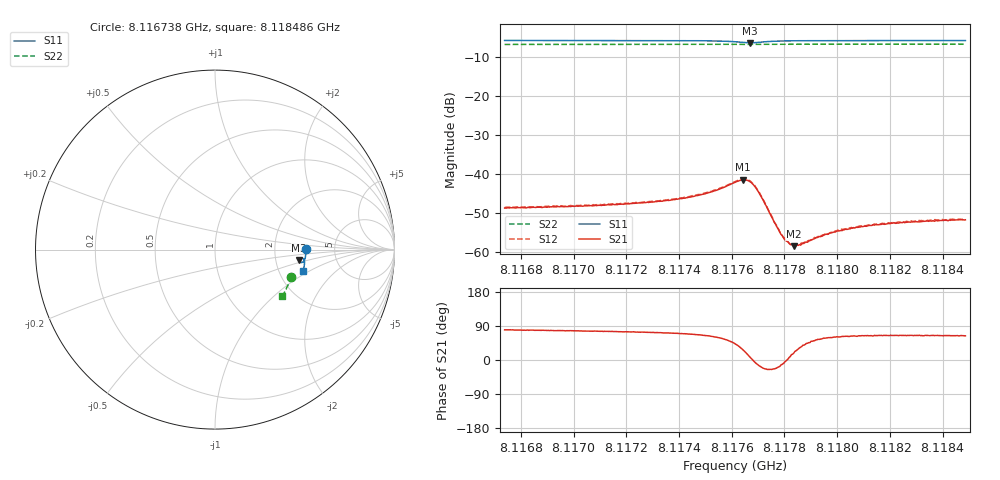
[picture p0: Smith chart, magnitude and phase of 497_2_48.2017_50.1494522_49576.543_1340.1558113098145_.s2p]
#  HZ  S  RI  R  50.00
! Rohde & Schwarz Vector Network Analyzer
! Rohde-Schwarz,ZNB20-2Port,1311601062101988,3.16
! Created: UTC 3/20/2024, 11:58:18 AM
! freq[Hz]  re:S11  im:S11  re:S21  im:S21  re:S12  im:S12  re:S22  im:S22
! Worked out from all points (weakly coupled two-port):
!   401 points, 8.116738 GHz to 8.118486 GHz, reference 50 ohm
!   highest |S21| = -41.48 dB at 8.117643 GHz (marker M1); lowest = -58.4 dB at 8.117835 GHz (marker M2)
!   lowest |S11| = -6.5 dB at 8.117669 GHz (marker M3), VSWR 2.79, Z = 136 - j20.4 ohm
!   |S11| at or under -10 dB: nowhere
!   |S22| runs from -6.9 to -6.8 dB; largest |S21 - S12| = 0.00023
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8.1167384e9  0.5068 0.00393  0.000661 0.00361  0.000728 0.00367  0.4245 -0.1511
8.1170312e9  0.5059 -0.0188  0.0009 0.0038  0.000963 0.00385  0.418 -0.1703
8.1172103e9  0.5047 -0.0331  0.00113 0.00399  0.00118 0.00407  0.4137 -0.1821
8.117324e9  0.5033 -0.0428  0.00138 0.00426  0.00144 0.0043  0.4106 -0.1896
8.1174157e9  0.5015 -0.0515  0.00175 0.00459  0.00179 0.00465  0.4081 -0.1955
8.1174856e9  0.4991 -0.0588  0.00223 0.00499  0.00232 0.00505  0.406 -0.1999
8.1175468e9  0.4947 -0.066  0.00321 0.00542  0.00331 0.00554  0.404 -0.2041
8.1176124e9  0.4824 -0.0722  0.00572 0.00534  0.00586 0.00539  0.4015 -0.2079
8.117643e9  0.4729 -0.0686  0.00753 0.00378  0.00769 0.0038  0.4003 -0.2095
8.1176692e9  0.469 -0.0582  0.00792 0.00107  0.00811 0.00101  0.3996 -0.2107
8.1176867e9  0.472 -0.0512  0.00697 -0.000623  0.00713 -0.000715  0.3992 -0.2115
8.1177041e9  0.478 -0.0472  0.0055 -0.0015  0.00562 -0.00159  0.3992 -0.2123
8.1177653e9  0.4934 -0.0523  0.00214 -0.000886  0.00213 -0.00093  0.398 -0.2164
8.1177915e9  0.496 -0.0565  0.0016 -0.000325  0.0016 -0.000322  0.3972 -0.2181
8.1178134e9  0.4973 -0.0596  0.00135 5.92e-05  0.00137 5.63e-05  0.3966 -0.2196
8.1178352e9  0.498 -0.0626  0.00114 0.000373  0.00119 0.000403  0.3958 -0.221
8.1178658e9  0.4985 -0.0664  0.00104 0.000748  0.00108 0.000758  0.3949 -0.223
8.1179052e9  0.4988 -0.0708  0.000944 0.0011  0.000943 0.00111  0.3935 -0.2256
8.1180101e9  0.4982 -0.081  0.000922 0.00165  0.000936 0.00173  0.3902 -0.2321
8.1180625e9  0.4976 -0.0854  0.000916 0.00185  0.00094 0.00184  0.3885 -0.2354
8.118198e9  0.4959 -0.0968  0.001 0.0021  0.00101 0.00214  0.3838 -0.2439
8.1184864e9  0.491 -0.1188  0.00115 0.00233  0.00119 0.00237  0.3732 -0.2611
